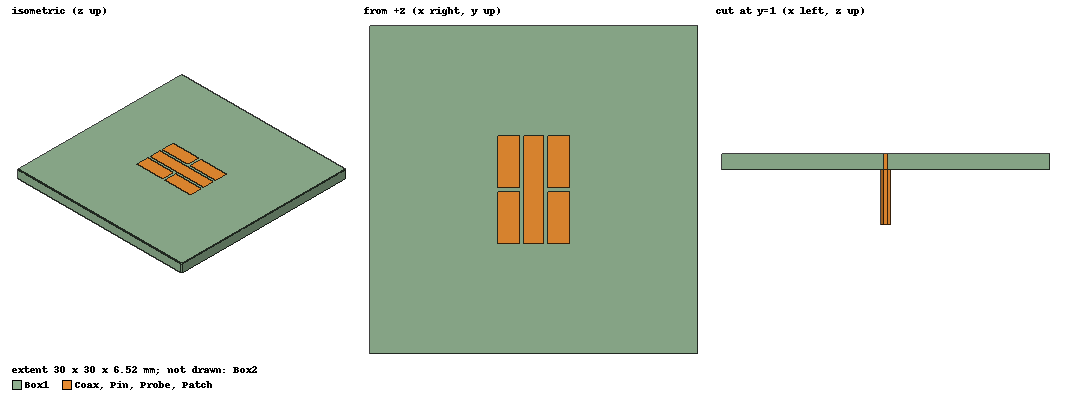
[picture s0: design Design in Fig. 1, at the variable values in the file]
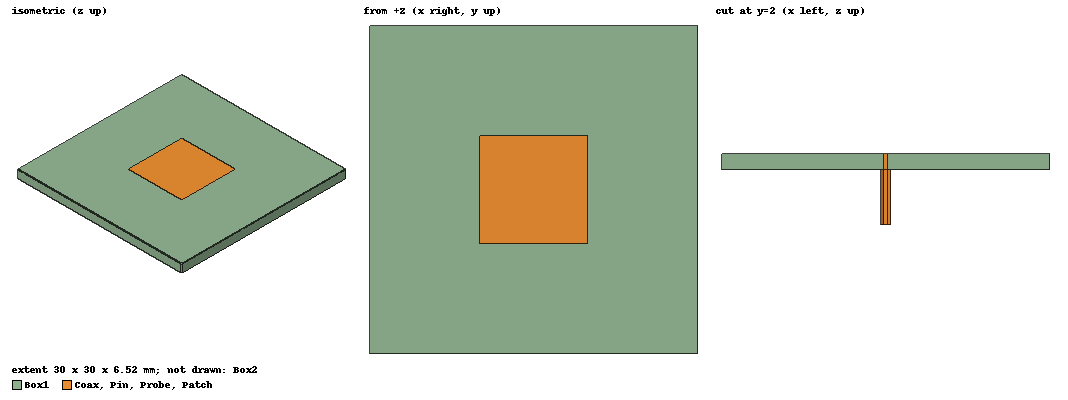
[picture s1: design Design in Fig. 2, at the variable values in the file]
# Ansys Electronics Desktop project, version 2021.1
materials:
  vacuum: permittivity=1
  Taconic RF-35 (tm): permittivity=3.5 dielectric_loss_tangent=0.0018
  copper: permeability=0.999991 conductivity=58000000

design Design in Fig. 1 (HFSS, DrivenModal, model units mm)
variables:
  Wg = 30mm
  Lg = Wg
  Hs = 1.52mm
  W = 9.8mm
  L = W
  w1 = 1.8mm
  g = 0.4mm
  s = g
  df = 1mm
  Lc = 5mm
  dx = (w/2-w1/2-g)/2
  dy = 0.5mm
  rv = 0.2mm
  Bo = 20mm
  cut = 2mm
  a = -1mm
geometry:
  GND = rectangle(corner=(-Wg/2, -Lg/2, 0mm), x_size=Wg, y_size=Lg)
  Box1 [Taconic RF-35 (tm)] = box(corner=(-Wg/2, -Lg/2, 0mm), size=(Wg, Lg, Hs))
  Patch = rectangle(corner=(-W/2, -L/2, Hs), x_size=W, y_size=L)
  Patch2 = rectangle(corner=(-w1/2, -L/2, Hs), x_size=-g, y_size=L)
  Patch3 = rectangle(corner=(-w1/2, -s/2, Hs), x_size=-l, y_size=s)
  Patch3_1 = Patch3.duplicate_mirror(point=(0mm, 12.5mm, 0mm), normal=(1mm, 0mm, 0mm))
  Pin [copper] = cylinder(axis=Z, base_centre=(0mm, df, 0mm), radius=0.15mm, height=-Lc)
  Cylinder2 = cylinder(axis=Z, base_centre=(0mm, df, 0mm), radius=0.35mm, height=-Lc)
  Coax [copper] = cylinder(axis=Z, base_centre=(0mm, df, 0mm), radius=0.5mm, height=-Lc)
  Coax.subtract(Cylinder2)
  Probe [copper] = cylinder(axis=Z, base_centre=(0mm, df, 0mm), radius=0.15mm, height=Hs)
  Port = circle(normal=Z, centre=(0mm, df, -Lc), radius=0.35mm)
  Box2 [vacuum] = box(corner=(-Wg/2-Bo, -Lg/2-Bo, -Bo), size=(Wg+2*Bo, Lg+2*Bo, Hs+2*Bo))
  Port1 = circle(normal=Z, centre=(0mm, df, 0), radius=0.35mm)
  GND.subtract(Port1)
  Patch4 = rectangle(corner=(-l/2+dx-g/2, -L/2, Hs), x_size=-L, y_size=L)
  Patch2.unite(Patch4)
  Patch2_1 = Patch2.duplicate_mirror(point=(0mm, -20mm, 0mm), normal=(1mm, 0mm, 0mm))
  Vias1 [copper] = cylinder(axis=Z, base_centre=(w/2-1.5*dx, l/2-dy, 0), radius=rv, height=Hs)
  Patch.subtract(Patch2, Patch2_1)
  Patch.subtract(Patch3, Patch3_1)
  Vias1_1 [copper] = Vias1.duplicate_mirror(point=(16mm, 0mm, 0mm), normal=(0mm, -1mm, 0mm))
  Vias1_2 [copper] = Vias1.duplicate_mirror(point=(0mm, 16mm, 0mm), normal=(-1mm, 0mm, 0mm))
  Vias1_1_1 [copper] = Vias1_1.duplicate_mirror(point=(0mm, 16mm, 0mm), normal=(-1mm, 0mm, 0mm))
  plane Plane1 = base (0mm, a, hs) normal (0mm, 1mm, 0mm)
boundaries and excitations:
  FiniteCond1: Finite Conductivity Objects=[GND, Patch] UseMaterial Material=copper IsInternal
  Rad1: Radiation Objects=Box2
  1: Lumped Port Objects=Port Modes{Mode1{IntLine{Port.edge(1 of 1) at 0.25 along -> Pin.edge(1 of 2) at -0.25 along} CharImp=Zpi RenormImp=50ohm}} Impedance=50ohm
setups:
  Setup1: HfssDriven Frequency=5.6GHz MaxDeltaS=0.02 MaximumPasses=15 MinimumPasses=1 MinimumConvergedPasses=1 PercentRefinement=30 BasisOrder=1 PortAccuracy=2
    sweep Sweep: 5GHz to 6GHz step 0.02GHz; Type=Discrete SaveFields
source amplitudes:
  1:1: 1W 0deg
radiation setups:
  Infinite Sphere1: Infinite Sphere Theta=-180deg..180deg step 5deg Phi=-180deg..180deg step 5deg
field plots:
  Mag_E1: E Field over Patch.face(all 5) on Setup1 : Sweep at Freq=5GHz Phase=0deg
  Vector_Jsurf1: Jsurf over Patch.face(all 5) on Setup1 : LastAdaptive at Freq=5.6GHz Phase=0deg
  Mag_E2: E Field over a plane on Setup1 : Sweep at Freq=5GHz Phase=0deg
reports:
  S Parameter Plot 1: dB(S(1,1)) vs Freq on Setup1 : Sweep; markers MY1 at y=-10
  Gain Plot 1: dB(RealizedGainTotal) vs Freq on Setup1 : Sweep, Infinite Sphere1 [Phi=0deg Theta=0deg df=all]; markers m1 at 5.03GHz
  Gain Plot 2: dB(RealizedGainPhi), dB(RealizedGainTheta) vs Theta on Setup1 : Sweep, Infinite Sphere1 [Phi=0deg,90deg Freq=4.94GHz]; markers m1 at 0deg, m2 at -180deg

design Design in Fig. 2 (HFSS, DrivenModal, model units mm)
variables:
  Wg = 30mm
  Lg = Wg
  Hs = 1.52mm
  W = 9.8mm
  L = 9.8mm
  w1 = 1.8mm
  g = 0.2mm
  s = 0.2mm
  df = 2mm
  Lc = 5mm
  dx = (w/2-w1/2-g)/2
  dy = 0.5mm
  rv = 0.2mm
  Bo = 15mm
  cut = 2mm
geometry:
  GND = rectangle(corner=(-Wg/2, -Lg/2, 0mm), x_size=Wg, y_size=Lg)
  Box1 [Taconic RF-35 (tm)] = box(corner=(-Wg/2, -Lg/2, 0mm), size=(Wg, Lg, Hs))
  Patch = rectangle(corner=(-W/2, -L/2, Hs), x_size=W, y_size=L)
  Pin [copper] = cylinder(axis=Z, base_centre=(0mm, df, 0mm), radius=0.15mm, height=-Lc)
  Cylinder2 = cylinder(axis=Z, base_centre=(0mm, df, 0mm), radius=0.35mm, height=-Lc)
  Coax [copper] = cylinder(axis=Z, base_centre=(0mm, df, 0mm), radius=0.5mm, height=-Lc)
  Coax.subtract(Cylinder2)
  Probe [copper] = cylinder(axis=Z, base_centre=(0mm, df, 0mm), radius=0.15mm, height=Hs)
  Port = circle(normal=Z, centre=(0mm, df, -Lc), radius=0.35mm)
  Box2 [vacuum] = box(corner=(-Wg/2-Bo, -Lg/2-Bo, -Bo), size=(Wg+2*Bo, Lg+2*Bo, Hs+2*Bo))
  Port1 = circle(normal=Z, centre=(0mm, df, 0), radius=0.35mm)
  GND.subtract(Port1)
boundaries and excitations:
  FiniteCond1: Finite Conductivity Objects=[GND, Patch] UseMaterial Material=copper IsInternal
  Rad1: Radiation Objects=Box2
  1: Lumped Port Objects=Port Modes{Mode1{IntLine{Port.edge(1 of 1) at 0.25 along -> Pin.edge(1 of 2) at -0.25 along} CharImp=Zpi RenormImp=50ohm}} Impedance=50ohm
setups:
  Setup1: HfssDriven Frequency=8GHz MaxDeltaS=0.02 MaximumPasses=15 MinimumPasses=1 MinimumConvergedPasses=1 PercentRefinement=30 BasisOrder=1 PortAccuracy=2
    sweep Sweep: 5GHz to 8GHz step 0.02GHz; Type=Discrete SaveFields
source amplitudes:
  1:1: 1W 0deg
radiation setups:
  Infinite Sphere1: Infinite Sphere Theta=-180deg..180deg step 5deg Phi=-180deg..180deg step 5deg
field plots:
  Vector_E1: E Field over Patch.face on Setup1 : Sweep at Freq=7.5GHz Phase=45deg
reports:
  S Parameter Plot 1: dB(S(1,1)) vs Freq on Setup1 : Sweep; markers MY1 at y=-10
  Gain Plot 1: dB(RealizedGainTotal) vs Freq on Setup1 : Sweep, Infinite Sphere1 [Phi=0deg Theta=0deg df=all]; markers m1 at 7.46GHz
  Gain Plot 2: dB(RealizedGainPhi), dB(RealizedGainTheta) vs Theta on Setup1 : Sweep, Infinite Sphere1 [Phi=0deg,90deg Freq=7.5GHz]; markers m1 at 0deg, m2 at -180deg
